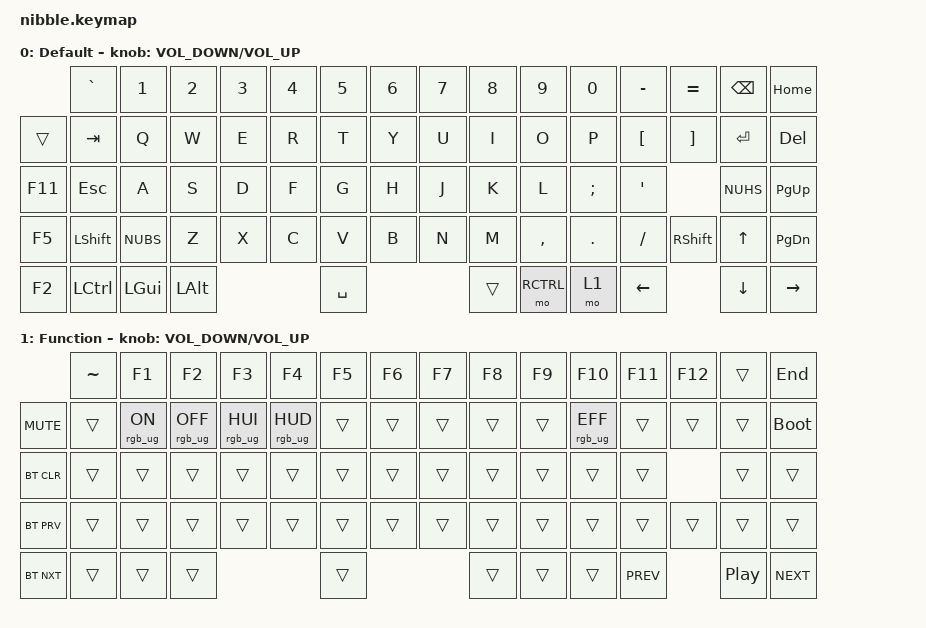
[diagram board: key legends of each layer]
/*
 * Copyright (c) 2020 The ZMK Contributors
 *
 * SPDX-License-Identifier: MIT
 */

#include <behaviors.dtsi>
#include <dt-bindings/zmk/keys.h>
#include <dt-bindings/zmk/bt.h>
#include <dt-bindings/pinctrl/rpi-pico-rp2040-pinctrl.h>
#include <dt-bindings/led/led.h>
#include <dt-bindings/zmk/rgb.h>

/ {
    sensors: sensors {
        compatible = "zmk,keymap-sensors";
        sensors = <&encoder_1>;
        triggers-per-rotation = <20>;
    };

    keymap {
        compatible = "zmk,keymap";

        default_layer {
            display-name = "Default";

            sensor-bindings = <&inc_dec_kp C_VOLUME_DOWN C_VOLUME_UP>;

            bindings = <
            &kp GRAVE &kp N1    &kp N2    &kp N3    &kp N4    &kp N5    &kp N6    &kp N7    &kp N8  &kp N9    &kp N0    &kp MINUS &kp EQUAL &kp BSPC &kp HOME
&trans      &kp TAB   &kp Q     &kp W     &kp E     &kp R     &kp T     &kp Y     &kp U     &kp I   &kp O     &kp P     &kp LBKT  &kp RBKT  &kp RET  &kp DEL
&kp F11     &kp ESC   &kp A     &kp S     &kp D     &kp F     &kp G     &kp H     &kp J     &kp K   &kp L     &kp SEMI  &kp SQT             &kp NUHS &kp PG_UP
&kp F5      &kp LSHFT &kp NUBS  &kp Z     &kp X     &kp C     &kp V     &kp B     &kp N     &kp M   &kp COMMA &kp DOT   &kp FSLH  &kp RSHFT &kp UP   &kp PG_DN
&kp F2      &kp LCTRL &kp LGUI  &kp LALT                      &kp SPACE                     &trans  &mo RCTRL &mo 1     &kp LEFT            &kp DOWN &kp RIGHT
            >;
        };

        function_layer {
            display-name = "Function";

            sensor-bindings = <&inc_dec_kp C_VOLUME_DOWN C_VOLUME_UP>;

            bindings = <
            &kp TILDE &kp F1    &kp F2    &kp F3    &kp F4    &kp F5    &kp F6    &kp F7    &kp F8  &kp F9    &kp F10   &kp F11   &kp F12   &trans   &kp END
&kp C_MUTE  &trans &rgb_ug RGB_ON &rgb_ug RGB_OFF &rgb_ug RGB_HUI &rgb_ug RGB_HUD &trans &trans &trans &trans &trans &rgb_ug RGB_EFF &trans &trans &trans &bootloader
&bt BT_CLR  &trans    &trans    &trans    &trans    &trans    &trans    &trans    &trans    &trans  &trans    &trans    &trans              &trans   &trans
&bt BT_PRV  &trans    &trans    &trans    &trans    &trans    &trans    &trans    &trans    &trans  &trans    &trans    &trans    &trans    &trans   &trans
&bt BT_NXT  &trans    &trans    &trans                        &trans                        &trans  &trans    &trans    &kp C_PREV          &kp C_PP &kp C_NEXT
            >;
        };
    };

    chosen {
        zmk,underglow = &led_strip;
    };
};

&pinctrl {
    spi0_ws2812: spi0_ws2812 {
        group1 {
            pinmux = <SPI0_TX_P7>;
        };
    };
};

&spi0 {
    pinctrl-0 = <&spi0_ws2812>;
    pinctrl-names = "default";
    clock-frequency = <4000000>;

    led_strip: ws2812@0 {
        compatible = "worldsemi,ws2812-spi";

        reg = <0>;
        spi-max-frequency = <4000000>;

        chain-length = <10>;
        spi-one-frame = <0x70>;
        spi-zero-frame = <0x40>;
        color-mapping = <LED_COLOR_ID_GREEN LED_COLOR_ID_RED LED_COLOR_ID_BLUE>;
    };
};
